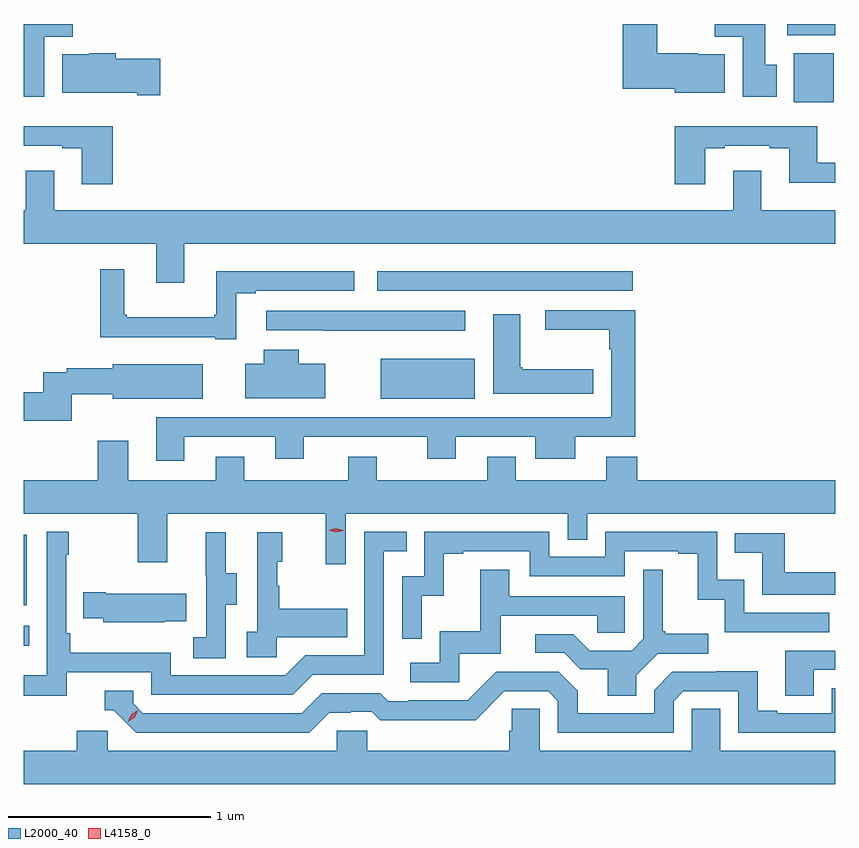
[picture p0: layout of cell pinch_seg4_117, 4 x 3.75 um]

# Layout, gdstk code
import gdstk
lib = gdstk.Library(unit=1e-6, precision=1e-09)
def R(c, l, rs):  # rectangles x0, y0, x1, y1
    for r in rs: c.add(gdstk.rectangle(r[:2], r[2:], *l))
def P(c, l, *ps):  # polygons
    for p in ps: c.add(gdstk.Polygon(p, *l))
L2000_40 = (2000, 40)
L4158_0 = (4158, 0)

pinch_seg4_117 = lib.new_cell('pinch_seg4_117')
R(pinch_seg4_117, L2000_40, [(1066.363,792.173,1066.391,792.272), (1066.363,792.372,1066.378,792.721), (1068.122,793.391,1068.586,793.588), (1068.105,793.923,1069.366,794.02), (1070.159,794.852,1070.356,795.094), (1070.127,795.182,1070.363,795.238)])
P(pinch_seg4_117, L2000_40, [(1069.819,795.088),(1069.686,795.088),(1069.686,795.094),(1069.486,795.094),(1069.486,795.238),(1069.316,795.238),(1069.316,794.918),(1069.572,794.918),(1069.572,794.9),(1069.819,794.9)],
  [(1066.465,795.176),(1066.604,795.176),(1066.604,795.238),(1066.363,795.238),(1066.363,794.88),(1066.465,794.88)],
  [(1070.074,795.036),(1070.017,795.036),(1070.017,795.238),(1069.768,795.238),(1069.768,795.176),(1069.907,795.176),(1069.907,794.88),(1070.074,794.88)],
  [(1067.035,795.066),(1066.817,795.066),(1066.817,795.094),(1066.686,795.094),(1066.686,795.088),(1066.553,795.088),(1066.553,794.9),(1066.922,794.9),(1066.922,794.888),(1067.035,794.888)],
  [(1066.802,794.734),(1066.363,794.734),(1066.363,794.637),(1066.553,794.637),(1066.553,794.625),(1066.649,794.625),(1066.649,794.448),(1066.802,794.448)],
  [(1069.723,794.625),(1069.819,794.625),(1069.819,794.637),(1070.039,794.637),(1070.039,794.625),(1070.135,794.625),(1070.135,794.456),(1070.363,794.456),(1070.363,794.553),(1070.275,794.553),(1070.275,794.734),(1069.571,794.734),(1069.571,794.448),(1069.723,794.448)],
  [(1067.155,794.156),(1070.363,794.156),(1070.363,794.32),(1069.999,794.32),(1069.999,794.515),(1069.859,794.515),(1069.859,794.32),(1066.513,794.32),(1066.513,794.515),(1066.373,794.515),(1066.373,794.32),(1066.363,794.32),(1066.363,794.156),(1067.015,794.156),(1067.015,793.962),(1067.155,793.962)],
  [(1067.41,793.911),(1067.506,793.911),(1067.506,793.923),(1067.992,793.923),(1067.992,794.02),(1067.312,794.02),(1067.312,793.804),(1067.301,793.804),(1067.301,793.792),(1066.87,793.792),(1066.87,793.804),(1066.858,793.804),(1066.858,794.029),(1066.741,794.029),(1066.741,793.694),(1067.306,793.694),(1067.306,793.683),(1067.41,793.683)],
  [(1067.155,793.203),(1067.603,793.203),(1067.603,793.094),(1067.743,793.094),(1067.743,793.203),(1068.353,793.203),(1068.353,793.094),(1068.493,793.094),(1068.493,793.203),(1068.884,793.203),(1068.884,793.094),(1069.081,793.094),(1069.081,793.203),(1069.376,793.203),(1069.376,793.827),(1068.933,793.827),(1068.933,793.73),(1069.248,793.73),(1069.248,793.634),(1069.26,793.634),(1069.26,793.299),(1067.015,793.299),(1067.015,793.086),(1067.155,793.086)],
  [(1068.538,793.824),(1067.559,793.824),(1067.559,793.728),(1067.844,793.728),(1067.844,793.727),(1068.538,793.727)],
  [(1069.171,793.537),(1068.819,793.537),(1068.819,793.545),(1068.811,793.545),(1068.811,793.807),(1068.677,793.807),(1068.677,793.415),(1069.171,793.415)],
  [(1067.848,793.564),(1067.718,793.564),(1067.718,793.633),(1067.545,793.633),(1067.545,793.564),(1067.456,793.564),(1067.456,793.394),(1067.848,793.394)],
  [(1066.6,793.413),(1066.802,793.413),(1066.802,793.391),(1067.245,793.391),(1067.245,793.561),(1066.802,793.561),(1066.802,793.541),(1066.576,793.541),(1066.576,793.521),(1066.46,793.521),(1066.46,793.424),(1066.363,793.424),(1066.363,793.282),(1066.6,793.282)],
  [(1067.949,792.824),(1069.044,792.824),(1069.044,792.697),(1069.14,792.697),(1069.14,792.824),(1070.363,792.824),(1070.363,792.988),(1069.388,792.988),(1069.388,793.105),(1069.235,793.105),(1069.235,792.988),(1068.787,792.988),(1068.787,793.105),(1068.647,793.105),(1068.647,792.988),(1068.103,792.988),(1068.103,793.105),(1067.963,793.105),(1067.963,792.988),(1067.449,792.988),(1067.449,793.105),(1067.309,793.105),(1067.309,792.988),(1066.879,792.988),(1066.879,793.183),(1066.727,793.183),(1066.727,792.988),(1066.363,792.988),(1066.363,792.824),(1066.924,792.824),(1066.924,792.585),(1067.071,792.585),(1067.071,792.824),(1067.852,792.824),(1067.852,792.576),(1067.949,792.576)],
  [(1066.574,792.042),(1066.992,792.042),(1066.992,791.931),(1067.689,791.931),(1067.788,792.03),(1068.138,792.03),(1068.138,792.639),(1068.251,792.639),(1068.251,792.735),(1068.042,792.735),(1068.042,792.126),(1067.751,792.126),(1067.652,792.027),(1067.088,792.027),(1067.088,792.139),(1066.592,792.139),(1066.592,792.235),(1066.572,792.235),(1066.572,792.623),(1066.585,792.623),(1066.585,792.736),(1066.476,792.736),(1066.476,792.028),(1066.363,792.028),(1066.363,791.926),(1066.574,791.926)],
  [(1068.324,792.419),(1068.434,792.419),(1068.434,792.627),(1068.529,792.627),(1068.529,792.639),(1068.858,792.639),(1068.858,792.516),(1069.326,792.516),(1069.326,792.639),(1069.589,792.639),(1069.589,792.627),(1069.685,792.627),(1069.685,792.401),(1069.818,792.401),(1069.818,792.24),(1070.333,792.24),(1070.333,792.336),(1069.914,792.336),(1069.914,792.499),(1069.782,792.499),(1069.782,792.735),(1069.23,792.735),(1069.23,792.612),(1068.954,792.612),(1068.954,792.735),(1068.336,792.735),(1068.336,792.516),(1068.228,792.516),(1068.228,792.207),(1068.324,792.207)],
  [(1067.358,792.376),(1067.413,792.376),(1067.413,792.531),(1067.359,792.531),(1067.359,792.733),(1067.261,792.733),(1067.261,792.519),(1067.262,792.519),(1067.262,792.215),(1067.199,792.215),(1067.199,792.112),(1067.358,792.112)],
  [(1067.61,792.215),(1067.957,792.215),(1067.957,792.355),(1067.623,792.355),(1067.623,792.47),(1067.613,792.47),(1067.613,792.588),(1067.638,792.588),(1067.638,792.733),(1067.514,792.733),(1067.514,792.242),(1067.463,792.242),(1067.463,792.117),(1067.61,792.117)],
  [(1070.363,792.535),(1070.113,792.535),(1070.113,792.729),(1069.867,792.729),(1069.867,792.632),(1070.002,792.632),(1070.002,792.426),(1070.363,792.426)],
  [(1068.51,792.135),(1068.715,792.135),(1068.715,792.321),(1069.189,792.321),(1069.189,792.237),(1069.326,792.237),(1069.326,792.417),(1068.757,792.417),(1068.757,792.547),(1068.613,792.547),(1068.613,792.244),(1068.414,792.244),(1068.414,792.09),(1068.267,792.09),(1068.267,791.994),(1068.51,791.994)],
  [(1069.381,792.028),(1069.488,792.135),(1069.738,792.135),(1069.738,792.232),(1069.525,792.232),(1069.525,792.244),(1069.513,792.244),(1069.513,792.547),(1069.416,792.547),(1069.416,792.207),(1069.359,792.15),(1069.153,792.15),(1069.072,792.231),(1068.885,792.231),(1068.885,792.138),(1069.026,792.138),(1069.106,792.058),(1069.241,792.058),(1069.241,791.926),(1069.381,791.926)],
  [(1067.057,792.293),(1067.165,792.293),(1067.165,792.43),(1066.768,792.43),(1066.768,792.438),(1066.657,792.438),(1066.657,792.308),(1066.755,792.308),(1066.755,792.29),(1067.057,792.29)],
  [(1070.257,792.054),(1070.363,792.054),(1070.363,792.15),(1070.117,792.15),(1070.117,791.926),(1070.257,791.926)],
  [(1067.869,791.844),(1067.976,791.844),(1067.976,791.847),(1068.079,791.847),(1068.121,791.805),(1068.354,791.805),(1068.354,791.807),(1068.59,791.807),(1068.732,791.949),(1068.948,791.949),(1068.996,791.901),(1068.996,791.745),(1069.566,791.745),(1069.566,791.901),(1069.614,791.949),(1069.884,791.949),(1069.884,791.745),(1070.363,791.745),(1070.363,791.964),(1070.346,791.964),(1070.346,791.841),(1070.077,791.841),(1070.077,791.854),(1069.981,791.854),(1069.981,792.047),(1069.776,792.047),(1069.776,792.045),(1069.56,792.045),(1069.47,791.955),(1069.47,791.841),(1069.093,791.841),(1069.093,791.951),(1068.999,792.045),(1068.693,792.045),(1068.552,791.904),(1068.259,791.904),(1068.259,791.901),(1068.16,791.901),(1068.121,791.94),(1067.832,791.94),(1067.733,791.841),(1066.95,791.841),(1066.902,791.889),(1066.902,791.952),(1066.763,791.952),(1066.763,791.856),(1066.806,791.856),(1066.917,791.745),(1067.77,791.745)],
  [(1070.363,791.656),(1069.795,791.656),(1069.795,791.864),(1069.656,791.864),(1069.656,791.656),(1068.906,791.656),(1068.906,791.864),(1068.769,791.864),(1068.769,791.754),(1068.755,791.754),(1068.755,791.656),(1068.057,791.656),(1068.057,791.754),(1067.907,791.754),(1067.907,791.656),(1066.776,791.656),(1066.776,791.754),(1066.625,791.754),(1066.625,791.656),(1066.363,791.656),(1066.363,791.492),(1070.363,791.492)])
P(pinch_seg4_117, L4158_0, [(1067.902,792.732),(1067.866,792.742),(1067.866,792.742),(1067.866,792.742),(1067.902,792.752),(1067.937,792.742),(1067.938,792.741),(1067.937,792.741)],
  [(1066.879,791.802),(1066.879,791.803),(1066.895,791.835),(1066.926,791.855),(1066.926,791.855),(1066.926,791.855),(1066.91,791.822),(1066.88,791.802)])

lib.write_gds('pinch_seg4_117.gds')
